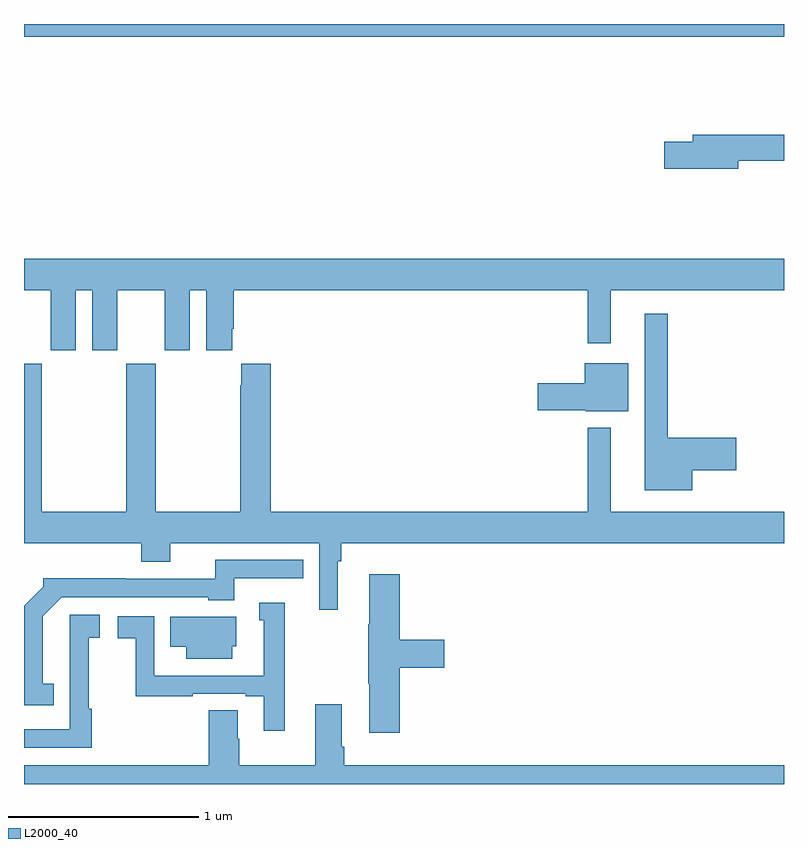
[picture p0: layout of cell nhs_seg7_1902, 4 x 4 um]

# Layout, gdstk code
import gdstk
lib = gdstk.Library(unit=1e-6, precision=1e-09)
def R(c, l, rs):  # rectangles x0, y0, x1, y1
    for r in rs: c.add(gdstk.rectangle(r[:2], r[2:], *l))
def P(c, l, *ps):  # polygons
    for p in ps: c.add(gdstk.Polygon(p, *l))
L2000_40 = (2000, 40)

nhs_seg7_1902 = lib.new_cell('nhs_seg7_1902')
R(nhs_seg7_1902, L2000_40, [(239,1017.932,243,1018)])
P(nhs_seg7_1902, L2000_40, [(242.758,1017.28),(243,1017.28),(243,1017.416),(242.519,1017.416),(242.519,1017.38),(242.37,1017.38),(242.37,1017.238),(242.758,1017.238)],
  [(239.272,1016.6),(239.36,1016.6),(239.36,1016.283),(239.491,1016.283),(239.491,1016.6),(239.741,1016.6),(239.741,1016.283),(239.872,1016.283),(239.872,1016.6),(239.96,1016.6),(239.96,1016.283),(240.097,1016.283),(240.097,1016.395),(240.104,1016.395),(240.104,1016.6),(241.968,1016.6),(241.968,1016.319),(242.089,1016.319),(242.089,1016.6),(243,1016.6),(243,1016.764),(239,1016.764),(239,1016.6),(239.141,1016.6),(239.141,1016.283),(239.272,1016.283)],
  [(242.518,1015.652),(242.749,1015.652),(242.749,1015.823),(242.389,1015.823),(242.389,1016.476),(242.267,1016.476),(242.267,1015.547),(242.518,1015.547)],
  [(242.179,1016.215),(241.952,1016.215),(241.952,1016.109),(241.704,1016.109),(241.704,1015.967),(241.956,1015.967),(241.956,1015.961),(242.179,1015.961)],
  [(240.652,1015.172),(240.671,1015.172),(240.671,1015.268),(243,1015.268),(243,1015.432),(242.089,1015.432),(242.089,1015.876),(241.968,1015.876),(241.968,1015.432),(240.299,1015.432),(240.299,1016.212),(240.143,1016.212),(240.143,1016.099),(240.139,1016.099),(240.139,1015.432),(239.694,1015.432),(239.694,1016.212),(239.539,1016.212),(239.539,1015.432),(239.094,1015.432),(239.094,1016.212),(239,1016.212),(239,1015.268),(239.618,1015.268),(239.618,1015.169),(239.77,1015.169),(239.77,1015.268),(240.555,1015.268),(240.555,1014.918),(240.652,1014.918)],
  [(239.156,1014.527),(239.098,1014.527),(239.098,1014.883),(239.199,1014.984),(239.97,1014.984),(239.97,1014.968),(240.106,1014.968),(240.106,1015.083),(240.47,1015.083),(240.47,1015.179),(240.007,1015.179),(240.007,1015.08),(239.534,1015.08),(239.534,1015.082),(239.1,1015.082),(239.1,1015.037),(239.001,1014.938),(239.001,1014.414),(239.156,1014.414)],
  [(240.977,1014.611),(241.213,1014.611),(241.213,1014.758),(240.977,1014.758),(240.977,1015.105),(240.818,1015.105),(240.818,1014.841),(240.811,1014.841),(240.811,1014.527),(240.818,1014.527),(240.818,1014.27),(240.977,1014.27)],
  [(240.373,1014.955),(240.239,1014.955),(240.239,1014.861),(240.263,1014.861),(240.263,1014.57),(239.686,1014.57),(239.686,1014.571),(239.685,1014.571),(239.685,1014.882),(239.493,1014.882),(239.493,1014.766),(239.587,1014.766),(239.587,1014.462),(239.888,1014.462),(239.888,1014.474),(240.167,1014.474),(240.167,1014.462),(240.263,1014.462),(240.263,1014.279),(240.373,1014.279)],
  [(239.357,1014.395),(239.34,1014.395),(239.34,1014.771),(239.398,1014.771),(239.398,1014.892),(239.24,1014.892),(239.24,1014.616),(239.241,1014.616),(239.241,1014.288),(239,1014.288),(239,1014.192),(239.357,1014.192)],
  [(240.097,1014.726),(240.118,1014.726),(240.118,1014.88),(239.77,1014.88),(239.77,1014.722),(239.855,1014.722),(239.855,1014.659),(240.097,1014.659)],
  [(243,1014.1),(240.686,1014.1),(240.686,1014.196),(240.673,1014.196),(240.673,1014.421),(240.533,1014.421),(240.533,1014.1),(240.132,1014.1),(240.132,1014.239),(240.124,1014.239),(240.124,1014.389),(239.972,1014.389),(239.972,1014.1),(239,1014.1),(239,1014),(243,1014)])

lib.write_gds('nhs_seg7_1902.gds')
